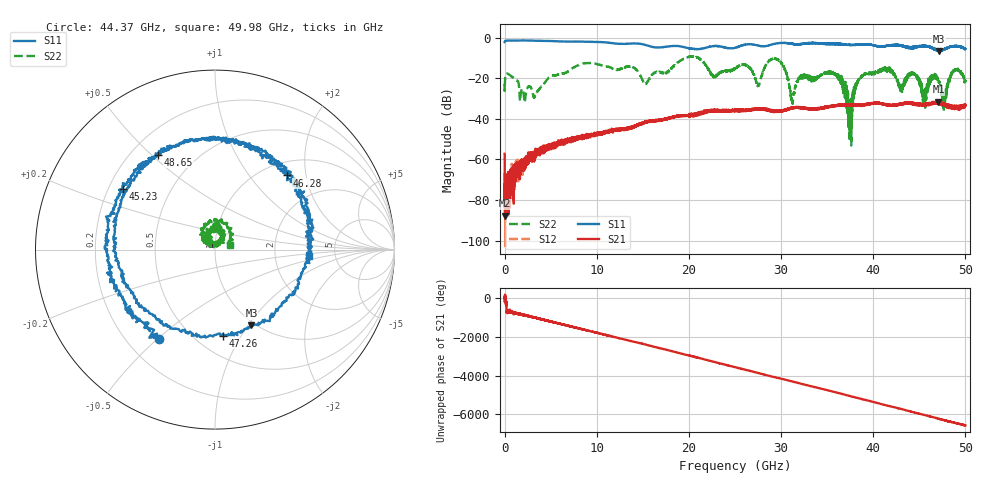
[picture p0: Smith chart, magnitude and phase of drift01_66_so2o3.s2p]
!Created with skrf (http://scikit-rf.org).
# Hz S RI R 50.0
!freq ReS11 ImS11 ReS21 ImS21 ReS12 ImS12 ReS22 ImS22
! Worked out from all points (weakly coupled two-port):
!   10001 points, 300 kHz to 50 GHz, reference 50 ohm
!   highest |S21| = -31.49 dB at 47.07 GHz (marker M1); lowest = -87.8 dB at 50.3 MHz (marker M2)
!   lowest |S11| = -6.6 dB at 47.12 GHz (marker M3), VSWR 2.76, Z = 48 - j51.9 ohm
!   |S11| at or under -10 dB: nowhere
!   |S22| runs from -53.2 to -9.2 dB; largest |S21 - S12| = 0.0041
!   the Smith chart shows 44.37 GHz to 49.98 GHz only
!   S11 on the Smith chart (normalised r, x): 44.37 GHz: 0.33, -0.51; 45.23 GHz: 0.26, +0.28; 46.28 GHz: 1.26, +1.57; 47.26 GHz: 0.67, -0.84; 48.65 GHz: 0.31, +0.53; 49.98 GHz: 3.18, -0.31
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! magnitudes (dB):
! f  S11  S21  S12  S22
! 300 kHz  -2.1  -57.2  -66.6  -22.7
! 50.3 MHz  -1.6  -87.8  -70.6  -20.3
! 3.29 GHz  -1.5  -57.7  -57.8  -28.8
! 8.335 GHz  -1.9  -48.9  -49.0  -12.9
! 16.67 GHz  -4.8  -40.9  -40.4  -16.7
! 25 GHz  -5.0  -36.1  -36.1  -15.2
! 29.58 GHz  -2.8  -36.2  -36.3  -10.7
! 31.24 GHz  -3.0  -34.6  -34.5  -32.3
! 33.34 GHz  -2.6  -34.9  -35.1  -20.2
! 36.11 GHz  -3.0  -33.4  -33.3  -19.8
! 37.47 GHz  -3.6  -33.5  -33.0  -36.1
! 38.66 GHz  -3.4  -33.2  -33.2  -19.5
! 41.67 GHz  -3.9  -33.2  -33.2  -15.9
! 44.37 GHz  -4.6  -32.4  -32.5  -17.7
! 45.23 GHz  -4.2  -32.8  -33.1  -25.1
! 46.28 GHz  -4.8  -32.6  -32.3  -19.0
! 47.07 GHz  -6.3  -31.5  -31.6  -21.2
! 47.12 GHz  -6.6  -32.3  -32.2  -21.6
! 47.26 GHz  -6.4  -32.9  -32.3  -23.9
! 48.65 GHz  -4.2  -34.4  -34.5  -17.0
! 49.98 GHz  -5.6  -33.7  -33.1  -21.2
! 50 GHz  -5.5  -33.0  -33.9  -21.4
